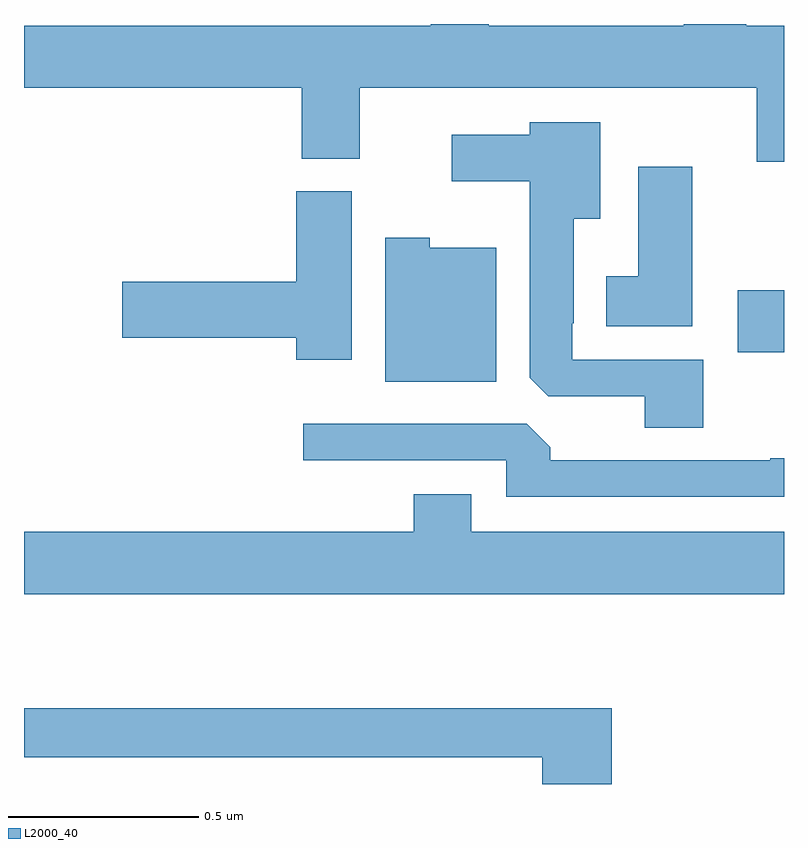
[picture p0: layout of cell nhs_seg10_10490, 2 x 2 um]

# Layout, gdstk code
import gdstk
lib = gdstk.Library(unit=1e-6, precision=1e-09)
def R(c, l, rs):  # rectangles x0, y0, x1, y1
    for r in rs: c.add(gdstk.rectangle(r[:2], r[2:], *l))
def P(c, l, *ps):  # polygons
    for p in ps: c.add(gdstk.Polygon(p, *l))
L2000_40 = (2000, 40)

nhs_seg10_10490 = lib.new_cell('nhs_seg10_10490')
R(nhs_seg10_10490, L2000_40, [(244.878,1283.636,245,1283.799)])
P(nhs_seg10_10490, L2000_40, [(245,1284.496),(244.901,1284.496),(244.901,1284.5),(244.736,1284.5),(244.736,1284.496),(244.223,1284.496),(244.223,1284.5),(244.071,1284.5),(244.071,1284.496),(243,1284.496),(243,1284.332),(243.731,1284.332),(243.731,1284.145),(243.883,1284.145),(243.883,1284.332),(244.928,1284.332),(244.928,1284.138),(245,1284.138)],
  [(244.787,1283.616),(244.443,1283.616),(244.443,1283.713),(244.447,1283.713),(244.447,1283.987),(244.516,1283.987),(244.516,1284.241),(244.331,1284.241),(244.331,1284.208),(244.125,1284.208),(244.125,1284.086),(244.331,1284.086),(244.331,1283.569),(244.38,1283.52),(244.634,1283.52),(244.634,1283.437),(244.787,1283.437)],
  [(244.759,1284.124),(244.616,1284.124),(244.616,1283.836),(244.532,1283.836),(244.532,1283.705),(244.759,1283.705)],
  [(243.862,1284.06),(243.716,1284.06),(243.716,1283.822),(243.258,1283.822),(243.258,1283.675),(243.716,1283.675),(243.716,1283.616),(243.862,1283.616)],
  [(244.243,1283.911),(244.068,1283.911),(244.068,1283.938),(243.95,1283.938),(243.95,1283.558),(244.243,1283.558)],
  [(245,1283.357),(244.964,1283.357),(244.964,1283.352),(244.385,1283.352),(244.385,1283.386),(244.323,1283.448),(243.735,1283.448),(243.735,1283.352),(244.269,1283.352),(244.269,1283.256),(245,1283.256)],
  [(245,1283.164),(244.177,1283.164),(244.177,1283.263),(244.025,1283.263),(244.025,1283.164),(243,1283.164),(243,1283),(245,1283)],
  [(244.547,1282.699),(243,1282.699),(243,1282.57),(244.364,1282.57),(244.364,1282.5),(244.547,1282.5)])

lib.write_gds('nhs_seg10_10490.gds')
